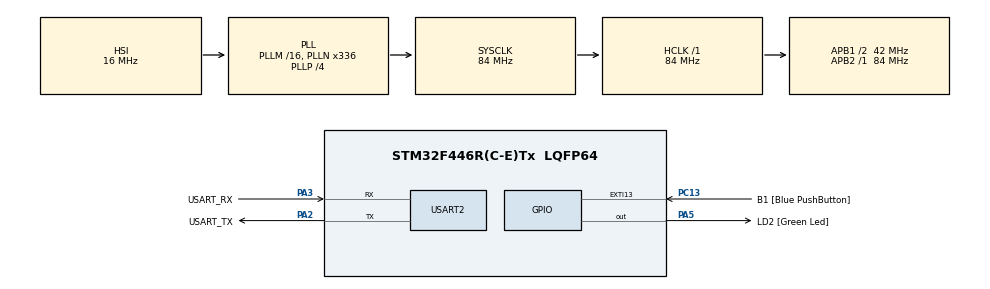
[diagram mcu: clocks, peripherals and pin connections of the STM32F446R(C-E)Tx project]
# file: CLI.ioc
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Mcu.Family=STM32F4
Mcu.Name=STM32F446R(C-E)Tx
Mcu.Package=LQFP64
NVIC.PriorityGroup=NVIC_PRIORITYGROUP_0
NVIC.USART2_IRQn=true\:0\:0\:false\:false\:true\:true\:true\:true
PA13.GPIO_Label=TMS
PA13.Mode=Serial_Wire
PA13.Signal=SYS_JTMS-SWDIO
PA14.GPIO_Label=TCK
PA14.Mode=Serial_Wire
PA14.Signal=SYS_JTCK-SWCLK
PA2.GPIO_Label=USART_TX
PA2.Mode=Asynchronous
PA2.Signal=USART2_TX
PA3.GPIO_Label=USART_RX
PA3.Mode=Asynchronous
PA3.Signal=USART2_RX
PA5.GPIO_Label=LD2 [Green Led]
PA5.Signal=GPIO_Output
PB3.GPIO_Label=SWO
PB3.Signal=SYS_JTDO-SWO
PC13.GPIO_Label=B1 [Blue PushButton]
PC13.GPIO_ModeDefaultEXTI=GPIO_MODE_IT_FALLING
PC13.Signal=GPXTI13
PC14-OSC32_IN.Mode=LSE-External-Oscillator
PC14-OSC32_IN.Signal=RCC_OSC32_IN
PC15-OSC32_OUT.Mode=LSE-External-Oscillator
PC15-OSC32_OUT.Signal=RCC_OSC32_OUT
PH0-OSC_IN.Mode=HSE-External-Oscillator
PH0-OSC_IN.Signal=RCC_OSC_IN
PH1-OSC_OUT.Mode=HSE-External-Oscillator
PH1-OSC_OUT.Signal=RCC_OSC_OUT
ProjectManager.HeapSize=0x200
ProjectManager.StackSize=0x400
ProjectManager.TargetToolchain=STM32CubeIDE
RCC.48MHZClocksFreq_Value=84000000
RCC.AHBFreq_Value=84000000
RCC.APB1CLKDivider=RCC_HCLK_DIV2
RCC.APB1Freq_Value=42000000
RCC.APB1TimFreq_Value=84000000
RCC.APB2Freq_Value=84000000
RCC.APB2TimFreq_Value=84000000
RCC.CortexFreq_Value=84000000
RCC.FLatency-AdvancedSettings=FLASH_LATENCY_2
RCC.HCLKFreq_Value=84000000
RCC.HSE_VALUE=8000000
RCC.HSI_VALUE=16000000
RCC.PLLN=336
RCC.PLLP=RCC_PLLP_DIV4
RCC.SYSCLKFreq_VALUE=84000000
RCC.SYSCLKSource=RCC_SYSCLKSOURCE_PLLCLK
RCC.USBFreq_Value=168000000
RCC.VCOOutputFreq_Value=336000000
USART2.VirtualMode=VM_ASYNC
board=NUCLEO-F446RE

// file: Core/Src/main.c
/* USER CODE BEGIN Header */
/**
  ******************************************************************************
  * @file           : main.c
  * @brief          : Main program body
  ******************************************************************************
  * @attention
  *
  * Copyright (c) 2024 STMicroelectronics.
  * All rights reserved.
  *
  * This software is licensed under terms that can be found in the LICENSE file
  * in the root directory of this software component.
  * If no LICENSE file comes with this software, it is provided AS-IS.
  *
  ******************************************************************************
  */
/* USER CODE END Header */
#include "main.h"

/* USER CODE BEGIN PD */
UART_HandleTypeDef huart2;
#define BUFFER_SIZE 100
char buffer[BUFFER_SIZE];   // Buffer to store the incoming command
uint8_t buffer_index = 0;          // Current index in the buffer
uint8_t received_byte;       // Variable to hold the incoming byte

/* USER CODE END PD */

UART_HandleTypeDef huart2;

void SystemClock_Config(void);
static void MX_GPIO_Init(void);
static void MX_USART2_UART_Init(void);

/* USER CODE BEGIN 0 */
void remove_trailing_newline(char *str) {
    int len = strlen(str);
    while (len > 0 && (str[len - 1] == ' ' || str[len - 1] == '\r' || str[len - 1] == '\n')) {
        str[len - 1] = '\0';  // Replace trailing whitespace with null-terminator
        len--;
    }
}

void processCommand(char *cmd) {
    remove_trailing_newline(cmd);
    char response[BUFFER_SIZE + 20];
    snprintf(response, sizeof(response), "Received command: %s\r\n", cmd);

    HAL_UART_Transmit(&huart2, (uint8_t *)response, strlen(response), HAL_MAX_DELAY);
}

void HAL_UART_RxCpltCallback(UART_HandleTypeDef *huart) {
    if (huart->Instance == USART2) {
        if (received_byte == '\r' || received_byte == '\n') {
            buffer[buffer_index] = '\0';
            processCommand(buffer);

            buffer_index = 0;
        } else if (received_byte == 0x08) { //backspace
            if (buffer_index > 0) {
                buffer_index--;

                // Clears terminal
                char backspace_sequence[3] = {0x08, ' ', 0x08};
                HAL_UART_Transmit(&huart2, (uint8_t *)backspace_sequence, sizeof(backspace_sequence), HAL_MAX_DELAY);

                buffer[buffer_index] = '\0';
            }
        } else {
            if (buffer_index < BUFFER_SIZE - 1) {
                buffer[buffer_index++] = received_byte;
                buffer[buffer_index] = '\0';

                HAL_UART_Transmit(&huart2, (uint8_t *)&received_byte, 1, HAL_MAX_DELAY);
            } else {
                // Add error handling for buffer overflow

                buffer_index = 0;
            }
        }

        // Re-enable the UART receive interrupt to receive the next byte
        HAL_UART_Receive_IT(&huart2, &received_byte, 1);
    }
}

/* USER CODE END 0 */

int main(void)
{

  /* MCU Configuration--------------------------------------------------------*/

  /* Reset of all peripherals, Initializes the Flash interface and the Systick. */
  HAL_Init();

  /* Configure the system clock */
  SystemClock_Config();

  /* Initialize all configured peripherals */
  MX_GPIO_Init();
  MX_USART2_UART_Init();
  /* USER CODE BEGIN 2 */
  HAL_UART_Receive_IT(&huart2, &received_byte, 1);
  /* USER CODE END 2 */

  /* Infinite loop */
  while (1)
  {

  }
}

void SystemClock_Config(void)
{
  RCC_OscInitTypeDef RCC_OscInitStruct = {0};
  RCC_ClkInitTypeDef RCC_ClkInitStruct = {0};

  /** Configure the main internal regulator output voltage
  */
  __HAL_RCC_PWR_CLK_ENABLE();
  __HAL_PWR_VOLTAGESCALING_CONFIG(PWR_REGULATOR_VOLTAGE_SCALE3);

  /** Initializes the RCC Oscillators according to the specified parameters
  * in the RCC_OscInitTypeDef structure.
  */
  RCC_OscInitStruct.OscillatorType = RCC_OSCILLATORTYPE_HSI;
  RCC_OscInitStruct.HSIState = RCC_HSI_ON;
  RCC_OscInitStruct.HSICalibrationValue = RCC_HSICALIBRATION_DEFAULT;
  RCC_OscInitStruct.PLL.PLLState = RCC_PLL_ON;
  RCC_OscInitStruct.PLL.PLLSource = RCC_PLLSOURCE_HSI;
  RCC_OscInitStruct.PLL.PLLM = 16;
  RCC_OscInitStruct.PLL.PLLN = 336;
  RCC_OscInitStruct.PLL.PLLP = RCC_PLLP_DIV4;
  RCC_OscInitStruct.PLL.PLLQ = 2;
  RCC_OscInitStruct.PLL.PLLR = 2;
  if (HAL_RCC_OscConfig(&RCC_OscInitStruct) != HAL_OK)
  {
    Error_Handler();
  }

  /** Initializes the CPU, AHB and APB buses clocks
  */
  RCC_ClkInitStruct.ClockType = RCC_CLOCKTYPE_HCLK|RCC_CLOCKTYPE_SYSCLK
                              |RCC_CLOCKTYPE_PCLK1|RCC_CLOCKTYPE_PCLK2;
  RCC_ClkInitStruct.SYSCLKSource = RCC_SYSCLKSOURCE_PLLCLK;
  RCC_ClkInitStruct.AHBCLKDivider = RCC_SYSCLK_DIV1;
  RCC_ClkInitStruct.APB1CLKDivider = RCC_HCLK_DIV2;
  RCC_ClkInitStruct.APB2CLKDivider = RCC_HCLK_DIV1;

  if (HAL_RCC_ClockConfig(&RCC_ClkInitStruct, FLASH_LATENCY_2) != HAL_OK)
  {
    Error_Handler();
  }
}

static void MX_USART2_UART_Init(void)
{

  huart2.Instance = USART2;
  huart2.Init.BaudRate = 115200;
  huart2.Init.WordLength = UART_WORDLENGTH_8B;
  huart2.Init.StopBits = UART_STOPBITS_1;
  huart2.Init.Parity = UART_PARITY_NONE;
  huart2.Init.Mode = UART_MODE_TX_RX;
  huart2.Init.HwFlowCtl = UART_HWCONTROL_NONE;
  huart2.Init.OverSampling = UART_OVERSAMPLING_16;
  if (HAL_UART_Init(&huart2) != HAL_OK)
  {
    Error_Handler();
  }

}

static void MX_GPIO_Init(void)
{
  GPIO_InitTypeDef GPIO_InitStruct = {0};

  /* GPIO Ports Clock Enable */
  __HAL_RCC_GPIOC_CLK_ENABLE();
  __HAL_RCC_GPIOH_CLK_ENABLE();
  __HAL_RCC_GPIOA_CLK_ENABLE();
  __HAL_RCC_GPIOB_CLK_ENABLE();

  /*Configure GPIO pin Output Level */
  HAL_GPIO_WritePin(LD2_GPIO_Port, LD2_Pin, GPIO_PIN_RESET);

  /*Configure GPIO pin : B1_Pin */
  GPIO_InitStruct.Pin = B1_Pin;
  GPIO_InitStruct.Mode = GPIO_MODE_IT_FALLING;
  GPIO_InitStruct.Pull = GPIO_NOPULL;
  HAL_GPIO_Init(B1_GPIO_Port, &GPIO_InitStruct);

  /*Configure GPIO pin : LD2_Pin */
  GPIO_InitStruct.Pin = LD2_Pin;
  GPIO_InitStruct.Mode = GPIO_MODE_OUTPUT_PP;
  GPIO_InitStruct.Pull = GPIO_NOPULL;
  GPIO_InitStruct.Speed = GPIO_SPEED_FREQ_LOW;
  HAL_GPIO_Init(LD2_GPIO_Port, &GPIO_InitStruct);

}

void Error_Handler(void)
{
  __disable_irq();
  while (1)
  {
  }
}
